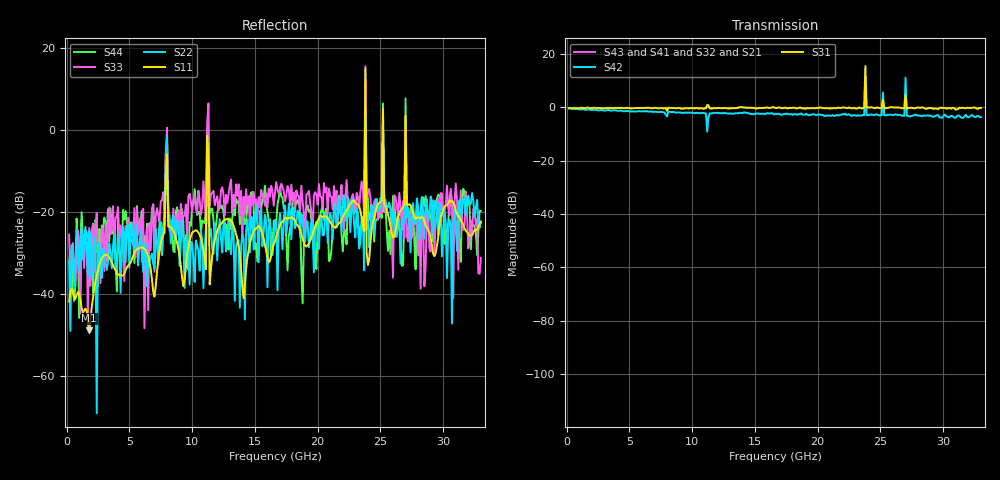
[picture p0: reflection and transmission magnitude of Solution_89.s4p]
# GHZ S RI R 50
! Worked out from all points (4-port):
!   329 points, 200 MHz to 33 GHz, reference 50 ohm
!   strongest paths, dB at 200 MHz, 8.4 GHz, 16.6 GHz, 24.8 GHz, 33 GHz:
!     S31: -0.4, -0.3, -0.3, -0.2, -0.3
!     S42: -0.5, -1.8, -2.6, -2.9, -3.7
!     S43: -, -, -, -, -
!     S41: -, -, -, -, -
!     S32: -, -, -, -, -
!     S21: -, -, -, -, -
!   lowest |S11| = -48.8 dB at 1.8 GHz (marker M1), VSWR 1.01, Z = 49.7 + j0.251 ohm
!   |S11| at or under -10 dB: start of sweep to 7.93 GHz; 11.31 GHz to 23.74 GHz (12.43 GHz wide, 70.9 % of centre); 27.06 GHz to end of sweep (the widest 3 of 6)
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0.2  -0.00564 0.00588  0 0  0.9583 0.0576  0 0
     0 0  0.0244 0.00243  0 0  -0.37 0.9113
     0.9583 0.0576  0 0  0.0209 0.049  0 0
     0 0  0.5693 -0.7543  0 0  0.00127 -0.0248
1.8  -0.00263 0.00253  0 0  0.9154 0.2933  0 0
     0 0  0.0444 0.0389  0 0  0.5748 -0.7432
     0.9154 0.2933  0 0  0.00646 0.0641  0 0
     0 0  -0.3073 -0.849  0 0  0.0282 -0.0345
23.7  0.0578 -0.0118  0 0  0.762 -0.6249  0 0
      0 0  -0.0188 -0.00581  0 0  -0.7301 0.1109
      0.762 -0.6249  0 0  0.079 0.0438  0 0
      0 0  0.2526 0.6599  0 0  -0.0327 0.0752
23.8  -0.265 5.661  0 0  -2.711 5.186  0 0
      0 0  1.076 -1.088  0 0  -0.2272 -2.106
      -2.711 5.186  0 0  -4.853 3.586  0 0
      0 0  -0.4199 -2.01  0 0  -2.597 -1.489
23.9  0.024 0.0219  0 0  0.7626 -0.6202  0 0
      0 0  0.0985 0.0258  0 0  0.233 -0.6839
      0.7626 -0.6202  0 0  -0.0428 0.1016  0 0
      0 0  0.6721 0.2058  0 0  -0.12 0.1258
27  -1.181 -0.9331  0 0  0.9978 1.344  0 0
    0 0  0.1821 -0.3736  0 0  0.1871 0.3911
    0.9978 1.344  0 0  0.1074 -1.019  0 0
    0 0  -0.4811 -3.539  0 0  2.34 0.7008
33  -0.0544 -0.0528  0 0  0.7075 -0.6656  0 0
    0 0  -0.0425 0.0653  0 0  -0.6734 -0.1603
    0.7075 -0.6656  0 0  0.009 0.0263  0 0
    0 0  -0.0134 0.6503  0 0  0.0984 0.0334
